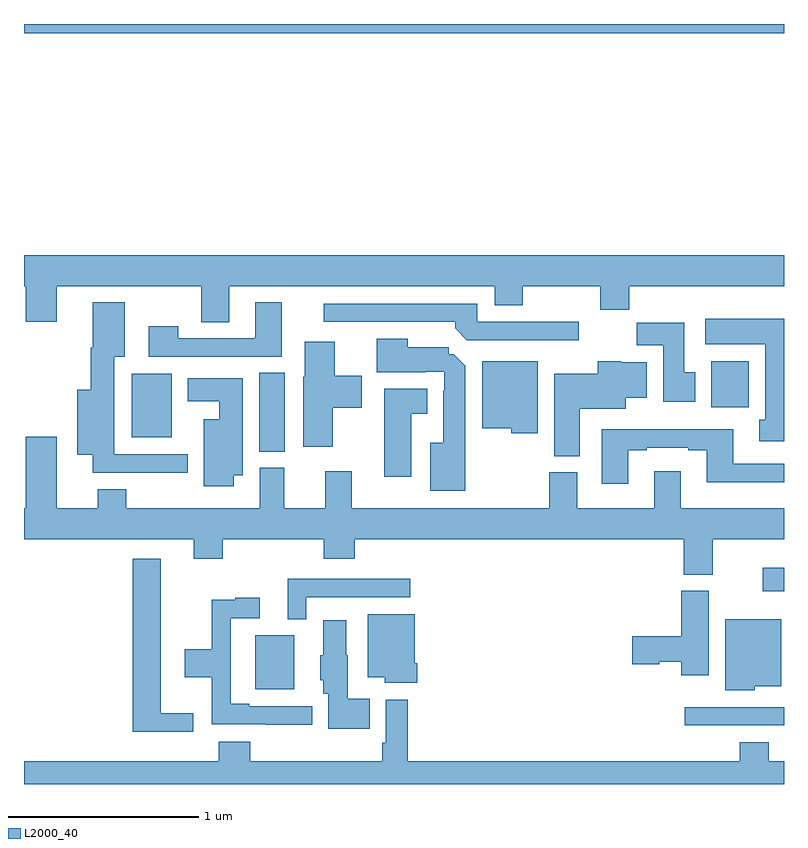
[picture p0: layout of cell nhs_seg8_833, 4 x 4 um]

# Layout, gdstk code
import gdstk
lib = gdstk.Library(unit=1e-6, precision=1e-09)
def R(c, l, rs):  # rectangles x0, y0, x1, y1
    for r in rs: c.add(gdstk.rectangle(r[:2], r[2:], *l))
def P(c, l, *ps):  # polygons
    for p in ps: c.add(gdstk.Polygon(p, *l))
L2000_40 = (2000, 40)

nhs_seg8_833 = lib.new_cell('nhs_seg8_833')
R(nhs_seg8_833, L2000_40, [(168.477,1094.208,169,1094.304), (166.217,1094.399,166.423,1094.683), (168.888,1094.915,169,1095.037), (166.238,1095.649,166.372,1096.064), (165.566,1095.725,165.778,1096.06), (168.617,1095.884,168.814,1096.126), (165,1097.852,169,1097.9)])
P(nhs_seg8_833, L2000_40, [(166.081,1096.52),(167.477,1096.52),(167.477,1096.421),(167.625,1096.421),(167.625,1096.52),(168.034,1096.52),(168.034,1096.396),(168.185,1096.396),(168.185,1096.52),(169,1096.52),(169,1096.684),(165,1096.684),(165,1096.52),(165.008,1096.52),(165.008,1096.332),(165.172,1096.332),(165.172,1096.52),(165.934,1096.52),(165.934,1096.33),(166.081,1096.33)],
  [(165.862,1095.636),(165.475,1095.636),(165.475,1096.148),(165.529,1096.148),(165.529,1096.435),(165.362,1096.435),(165.362,1096.197),(165.35,1096.197),(165.35,1095.976),(165.281,1095.976),(165.281,1095.632),(165.362,1095.632),(165.362,1095.539),(165.862,1095.539)],
  [(166.357,1096.435),(166.217,1096.435),(166.217,1096.245),(165.813,1096.245),(165.813,1096.309),(165.657,1096.309),(165.657,1096.149),(166.357,1096.149)],
  [(167.92,1096.332),(167.385,1096.332),(167.385,1096.428),(166.578,1096.428),(166.578,1096.332),(167.27,1096.332),(167.27,1096.298),(167.331,1096.236),(167.92,1096.236)],
  [(169,1096.348),(168.585,1096.348),(168.585,1096.214),(168.902,1096.214),(168.902,1095.818),(168.869,1095.818),(168.869,1095.705),(169,1095.705)],
  [(168.532,1096.068),(168.475,1096.068),(168.475,1096.327),(168.226,1096.327),(168.226,1096.208),(168.365,1096.208),(168.365,1095.912),(168.532,1095.912)],
  [(167.323,1096.101),(167.263,1096.161),(167.235,1096.161),(167.235,1096.198),(167.02,1096.198),(167.02,1096.243),(166.856,1096.243),(166.856,1096.067),(167.111,1096.067),(167.111,1096.071),(167.211,1096.071),(167.211,1095.971),(167.207,1095.971),(167.207,1095.697),(167.138,1095.697),(167.138,1095.443),(167.323,1095.443)],
  [(166.624,1095.879),(166.777,1095.879),(166.777,1096.048),(166.636,1096.048),(166.636,1096.228),(166.478,1096.228),(166.478,1096.044),(166.469,1096.044),(166.469,1095.675),(166.624,1095.675)],
  [(167.704,1096.126),(167.411,1096.126),(167.411,1095.773),(167.565,1095.773),(167.565,1095.746),(167.704,1095.746)],
  [(167.926,1095.875),(168.166,1095.875),(168.166,1095.932),(168.277,1095.932),(168.277,1096.12),(168.144,1096.12),(168.144,1096.126),(168.019,1096.126),(168.019,1096.06),(167.792,1096.06),(167.792,1095.625),(167.926,1095.625)],
  [(166.105,1095.524),(166.15,1095.524),(166.15,1096.036),(165.863,1096.036),(165.863,1095.914),(166.028,1095.914),(166.028,1095.82),(165.947,1095.82),(165.947,1095.468),(166.105,1095.468)],
  [(167.038,1095.848),(167.122,1095.848),(167.122,1095.979),(166.895,1095.979),(166.895,1095.516),(167.038,1095.516)],
  [(168.181,1095.657),(168.277,1095.657),(168.277,1095.669),(168.497,1095.669),(168.497,1095.657),(168.593,1095.657),(168.593,1095.488),(169,1095.488),(169,1095.585),(168.733,1095.585),(168.733,1095.766),(168.041,1095.766),(168.041,1095.48),(168.181,1095.48)],
  [(168.625,1095.188),(169,1095.188),(169,1095.352),(168.457,1095.352),(168.457,1095.547),(168.317,1095.547),(168.317,1095.352),(167.911,1095.352),(167.911,1095.54),(167.764,1095.54),(167.764,1095.352),(166.726,1095.352),(166.726,1095.547),(166.586,1095.547),(166.586,1095.352),(166.369,1095.352),(166.369,1095.564),(166.241,1095.564),(166.241,1095.352),(165.537,1095.352),(165.537,1095.451),(165.389,1095.451),(165.389,1095.352),(165.172,1095.352),(165.172,1095.727),(165.008,1095.727),(165.008,1095.352),(165,1095.352),(165,1095.188),(165.893,1095.188),(165.893,1095.086),(166.046,1095.086),(166.046,1095.188),(166.577,1095.188),(166.577,1095.086),(166.742,1095.086),(166.742,1095.188),(168.473,1095.188),(168.473,1095.001),(168.625,1095.001)],
  [(165.892,1094.273),(165.721,1094.273),(165.721,1095.085),(165.572,1095.085),(165.572,1094.174),(165.892,1094.174)],
  [(166.485,1094.883),(167.032,1094.883),(167.032,1094.979),(166.388,1094.979),(166.388,1094.768),(166.485,1094.768)],
  [(168.604,1094.916),(168.458,1094.916),(168.458,1094.678),(168.201,1094.678),(168.201,1094.531),(168.344,1094.531),(168.344,1094.543),(168.458,1094.543),(168.458,1094.472),(168.604,1094.472)],
  [(166.516,1094.31),(166.186,1094.31),(166.186,1094.323),(166.089,1094.323),(166.089,1094.772),(166.24,1094.772),(166.24,1094.881),(166.112,1094.881),(166.112,1094.87),(165.988,1094.87),(165.988,1094.61),(165.846,1094.61),(165.846,1094.462),(165.988,1094.462),(165.988,1094.214),(166.273,1094.214),(166.273,1094.213),(166.516,1094.213)],
  [(167.069,1094.536),(167.056,1094.536),(167.056,1094.794),(166.808,1094.794),(166.808,1094.462),(166.898,1094.462),(166.898,1094.432),(167.069,1094.432)],
  [(168.846,1094.414),(168.985,1094.414),(168.985,1094.767),(168.692,1094.767),(168.692,1094.393),(168.846,1094.393)],
  [(166.82,1094.35),(166.705,1094.35),(166.705,1094.577),(166.696,1094.577),(166.696,1094.761),(166.574,1094.761),(166.574,1094.577),(166.559,1094.577),(166.559,1094.445),(166.574,1094.445),(166.574,1094.376),(166.601,1094.376),(166.601,1094.192),(166.82,1094.192)],
  [(165,1093.9),(169,1093.9),(169,1094.02),(168.919,1094.02),(168.919,1094.119),(168.767,1094.119),(168.767,1094.02),(167.021,1094.02),(167.021,1094.344),(166.905,1094.344),(166.905,1094.116),(166.885,1094.116),(166.885,1094.02),(166.19,1094.02),(166.19,1094.122),(166.025,1094.122),(166.025,1094.02),(165,1094.02)])

lib.write_gds('nhs_seg8_833.gds')
